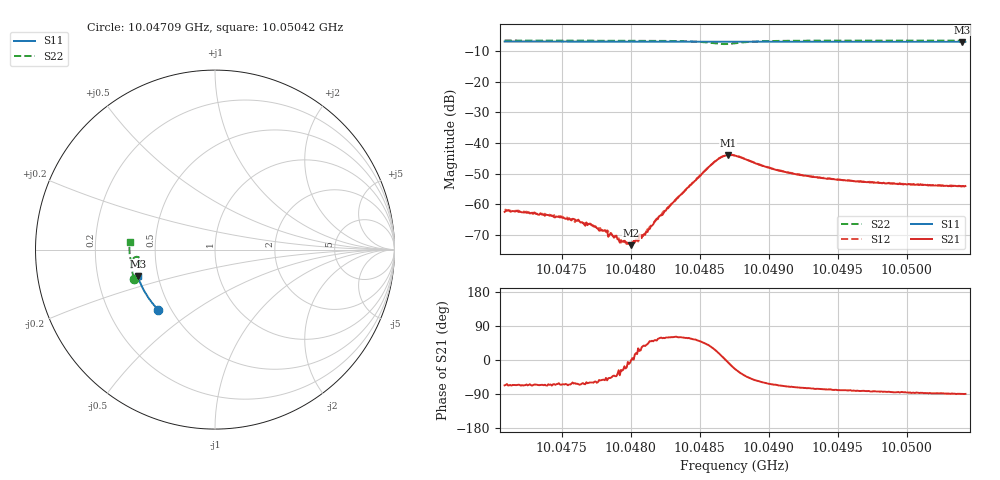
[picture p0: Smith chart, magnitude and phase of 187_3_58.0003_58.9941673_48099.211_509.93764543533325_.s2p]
#  HZ  S  RI  R  50.00
! Rohde & Schwarz Vector Network Analyzer
! Rohde-Schwarz,ZNB20-2Port,1311601062101988,3.16
! Created: UTC 3/21/2024, 12:58:41 AM
! freq[Hz]  re:S11  im:S11  re:S21  im:S21  re:S12  im:S12  re:S22  im:S22
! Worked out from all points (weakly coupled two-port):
!   401 points, 10.04709 GHz to 10.05042 GHz, reference 50 ohm
!   highest |S21| = -43.91 dB at 10.04871 GHz (marker M1); lowest = -73.6 dB at 10.048 GHz (marker M2)
!   lowest |S11| = -6.8 dB at 10.0504 GHz (marker M3), VSWR 2.67, Z = 19.2 - j7.21 ohm
!   |S11| at or under -10 dB: nowhere
!   |S22| runs from -7.6 to -6.4 dB; largest |S21 - S12| = 0.00043
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1.0047087e10  -0.3171 -0.334  0.000291 -0.000684  0.000392 -0.000698  -0.4512 -0.1618
1.0047187e10  -0.3217 -0.3291  0.00031 -0.000676  0.00038 -0.000684  -0.4532 -0.1552
1.0047404e10  -0.3317 -0.3186  0.00029 -0.000593  0.000313 -0.000591  -0.4575 -0.1407
1.0047604e10  -0.3403 -0.3085  0.000244 -0.000475  0.000269 -0.000464  -0.4609 -0.1267
1.0047646e10  -0.3421 -0.3065  0.000234 -0.000447  0.000238 -0.000429  -0.4614 -0.1237
1.0047713e10  -0.345 -0.3031  0.000237 -0.000403  0.000256 -0.000376  -0.4625 -0.1189
1.0047846e10  -0.3504 -0.2961  0.000209 -0.000227  0.000247 -0.000233  -0.4641 -0.1091
1.0047921e10  -0.3535 -0.2922  0.000178 -0.000151  0.00021 -0.00012  -0.4651 -0.1032
1.004798e10  -0.356 -0.2891  0.000226 -2.04e-05  0.000225 -3.76e-05  -0.4657 -0.0985
1.0048005e10  -0.3568 -0.2877  0.000209 5.29e-07  0.000224 2.61e-05  -0.4658 -0.0965
1.0048055e10  -0.3589 -0.2852  0.000217 0.00013  0.000205 0.000131  -0.4662 -0.0923
1.0048096e10  -0.3606 -0.2831  0.000249 0.000196  0.000249 0.00019  -0.4663 -0.0888
1.0048205e10  -0.3648 -0.2772  0.00034 0.000526  0.000301 0.000513  -0.4662 -0.0788
1.0048589e10  -0.3786 -0.2559  0.00378 0.00243  0.00365 0.00266  -0.4332 -0.0403
1.0048656e10  -0.3808 -0.2523  0.00573 0.00122  0.00565 0.00156  -0.4168 -0.0505
1.0048706e10  -0.3825 -0.2497  0.00633 -0.000712  0.00637 -0.000304  -0.4142 -0.067
1.0048756e10  -0.3843 -0.2471  0.00568 -0.00251  0.00589 -0.00213  -0.423 -0.0801
1.0049048e10  -0.3943 -0.2305  0.00154 -0.00332  0.00175 -0.00326  -0.4662 -0.0631
1.0049315e10  -0.4025 -0.2149  0.000704 -0.00269  0.000893 -0.00269  -0.4737 -0.0384
1.0049874e10  -0.4178 -0.1813  0.000232 -0.00217  0.000321 -0.0022  -0.4767 0.00411
1.00504e10  -0.4294 -0.1489  2.01e-05 -0.00194  0.000124 -0.00197  -0.4749 0.0407
1.0050425e10  -0.4302 -0.1472  1.83e-05 -0.00197  8.55e-05 -0.00195  -0.4747 0.0423
